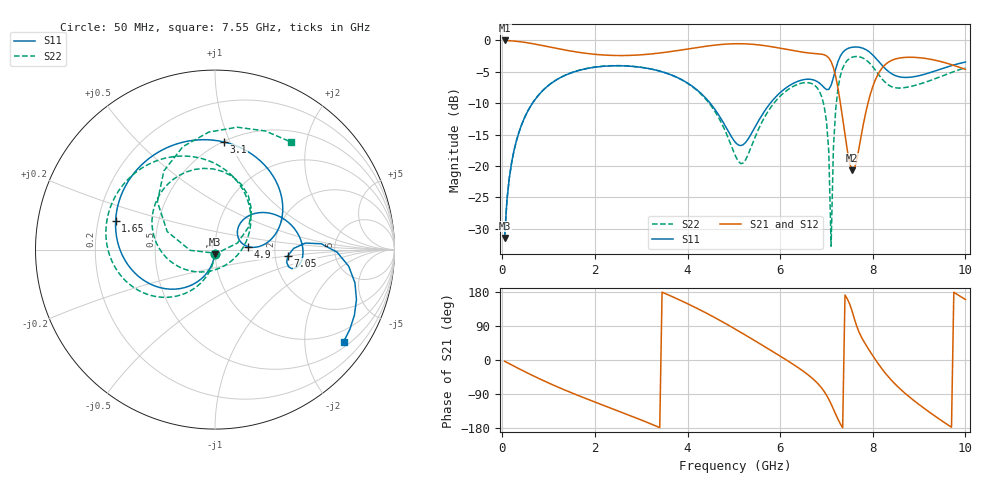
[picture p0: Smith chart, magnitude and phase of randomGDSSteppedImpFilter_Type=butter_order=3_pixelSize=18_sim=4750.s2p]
! freq	dB(S11)	phase(S11)	dB(S12)	phase(S12)
!  dB(S21)	phase(S21)	dB(S22)	phase(S22)
!S-par simulation data
#  GHz  S  DB  R 50
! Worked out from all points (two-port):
!   200 points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, 50 MHz to 10 GHz, reference 50 ohm
!   highest |S21| = -0.01 dB at 50 MHz (marker M1); lowest = -20.7 dB at 7.55 GHz (marker M2)
!   |S21| within 3 dB of the highest: start of sweep to 7.068 GHz; 8.471 GHz to 9.247 GHz (775.9 MHz wide, 8.76 % of centre)
!   lowest |S11| = -31.5 dB at 50 MHz (marker M3), VSWR 1.05, Z = 49.8 - j2.65 ohm
!   |S11| at or under -10 dB: start of sweep to 653.4 MHz; 4.488 GHz to 5.789 GHz (1.301 GHz wide, 25.3 % of centre)
!   |S22| runs from -32.8 to -2.6 dB; largest |S21 - S12| = 0
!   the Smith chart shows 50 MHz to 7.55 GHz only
!   S11 on the Smith chart (normalised r, x): 50 MHz: 1.00, -0.05; 1.65 GHz: 0.27, +0.13; 3.1 GHz: 0.51, +0.95; 4.9 GHz: 1.44, +0.05; 7.05 GHz: 2.35, -0.20; 7.55 GHz: 0.65, -2.98
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0.05  -31.48 -93.6  -0.01 -3.3  -0.01 -3.3  -31.48 -92.9
0.45  -12.84 -122.1  -0.27 -28.6  -0.27 -28.6  -12.83 -116.1
1.65  -4.79 164.1  -1.90 -94.2  -1.90 -94.2  -4.77 -173.5
1.75  -4.61 158.5  -2.00 -99.0  -2.00 -99.0  -4.58 -177.6
3.1  -4.41 85.3  -2.24 -163.2  -2.24 -163.2  -4.40 128.1
3.4  -4.90 68.5  -2.01 -178.4  -2.01 -178.4  -4.89 114.8
4.15  -7.56 26.5  -1.20 139.7  -1.20 139.7  -7.64 75.3
4.9  -14.74 5.4  -0.56 90.7  -0.56 90.7  -15.94 5.6
5.05  -16.39 15.0  -0.53 80.1  -0.53 80.1  -18.66 -26.4
5.9  -9.05 35.6  -1.11 17.8  -1.11 17.8  -9.69 173.9
6.7  -6.26 -7.2  -2.06 -48.9  -2.06 -48.9  -6.94 91.3
7.05  -7.81 -4.9  -2.79 -103.5  -2.79 -103.5  -17.69 16.4
7.1  -7.16 0.9  -3.38 -116.0  -3.38 -116.0  -32.80 -65.1
7.2  -4.54 3.1  -5.77 -143.6  -5.77 -143.6  -10.91 159.3
7.4  -1.56 -19.5  -15.04 171.5  -15.04 171.5  -3.66 93.0
7.55  -1.10 -35.7  -20.71 130.4  -20.71 130.4  -2.69 54.8
7.8  -1.29 -59.0  -13.23 50.4  -13.23 50.4  -2.86 -8.0
8  -2.33 -75.1  -7.37 11.3  -7.37 11.3  -4.21 -66.4
8.35  -5.02 -87.1  -3.41 -46.2  -3.41 -46.2  -7.16 -176.5
8.7  -5.90 -87.6  -2.71 -88.1  -2.71 -88.1  -7.52 96.1
9.2  -5.22 -93.7  -2.95 -135.6  -2.95 -135.6  -6.50 6.2
10  -3.45 -121.4  -4.62 159.7  -4.62 159.7  -4.35 -97.5
